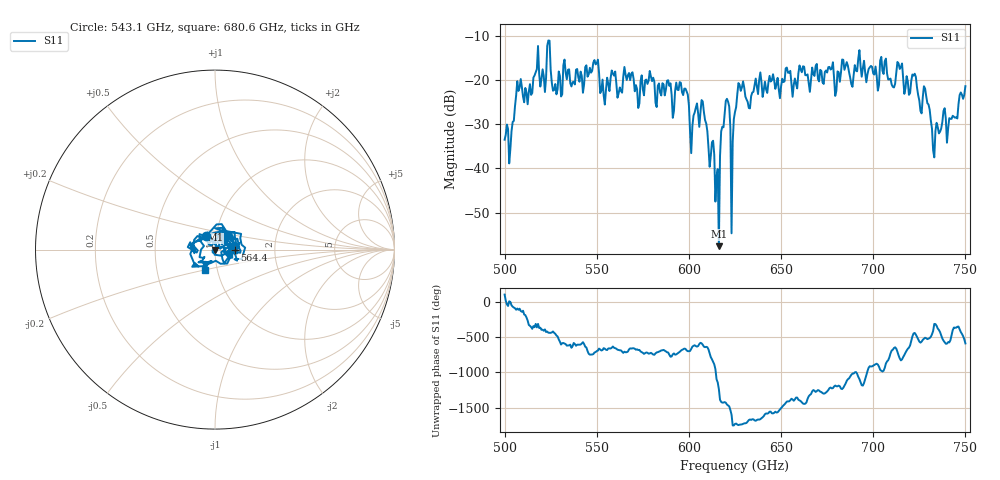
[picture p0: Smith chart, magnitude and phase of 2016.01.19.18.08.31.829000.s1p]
!Created with skrf (http://scikit-rf.org).
# GHz S RI R 50.0
!freq ReS11 ImS11
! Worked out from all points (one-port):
!   401 points, 500 GHz to 750 GHz, reference 50 ohm
!   lowest |S11| = -57.6 dB at 616.2 GHz (marker M1), VSWR 1.00, Z = 49.9 - j0.0524 ohm
!   |S11| at or under -10 dB: start of sweep to end of sweep
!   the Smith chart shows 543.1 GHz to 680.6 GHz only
!   S11 on the Smith chart (normalised r, x): 543.1 GHz: 0.89, +0.13; 564.4 GHz: 1.24, -0.01; 680.6 GHz: 0.87, -0.20
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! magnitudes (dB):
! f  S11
! 500 GHz  -33.5
! 503.8 GHz  -31.6
! 507.5 GHz  -22.5
! 523.8 GHz  -11.0
! 526.9 GHz  -22.3
! 531.2 GHz  -23.2
! 543.1 GHz  -21.0
! 549.4 GHz  -16.4
! 553.1 GHz  -19.9
! 562.5 GHz  -21.7
! 564.4 GHz  -19.2
! 593.8 GHz  -22.2
! 601.9 GHz  -30.5
! 608.1 GHz  -27.2
! 615 GHz  -41.8
! 616.2 GHz  -57.6
! 620 GHz  -24.7
! 623.8 GHz  -34.0
! 625 GHz  -27.2
! 628.1 GHz  -22.4
! 656.2 GHz  -23.8
! 680.6 GHz  -18.0
! 687.5 GHz  -19.5
! 714.4 GHz  -17.5
! 718.8 GHz  -20.3
! 728.8 GHz  -23.7
! 733.1 GHz  -37.5
! 750 GHz  -21.4
